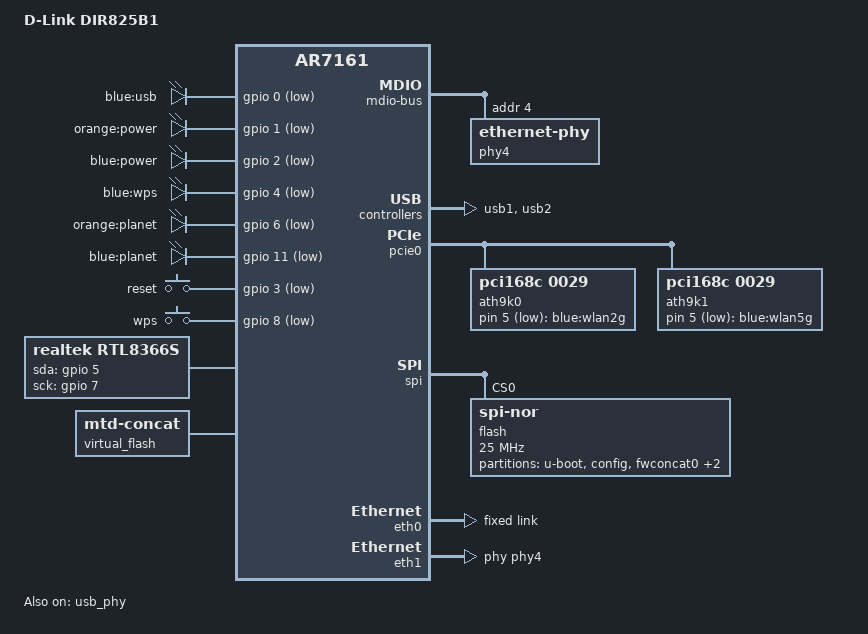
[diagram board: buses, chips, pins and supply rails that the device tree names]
// SPDX-License-Identifier: GPL-2.0-or-later OR MIT

#include "ar7100.dtsi"

#include <dt-bindings/gpio/gpio.h>
#include <dt-bindings/input/input.h>

/ {
	compatible = "dlink,dir-825-b1", "qca,ar7161";
	model = "D-Link DIR825B1";

	aliases {
		led-boot = &led_power_orange;
		led-failsafe = &led_power_orange;
		led-running = &led_power_blue;
		led-upgrade = &led_power_orange;
	};

	leds {
		compatible = "gpio-leds";

		usb {
			label = "blue:usb";
			gpios = <&gpio 0 GPIO_ACTIVE_LOW>;
			trigger-sources = <&usb_ohci_port>, <&usb_ehci_port>;
			linux,default-trigger = "usbport";
		};

		led_power_orange: power_orange {
			label = "orange:power";
			gpios = <&gpio 1 GPIO_ACTIVE_LOW>;
			default-state = "on";
		};

		led_power_blue: power_blue {
			label = "blue:power";
			gpios = <&gpio 2 GPIO_ACTIVE_LOW>;
		};

		wps {
			label = "blue:wps";
			gpios = <&gpio 4 GPIO_ACTIVE_LOW>;
		};

		planet_orange {
			label = "orange:planet";
			gpios = <&gpio 6 GPIO_ACTIVE_LOW>;
		};

		planet_blue {
			label = "blue:planet";
			gpios = <&gpio 11 GPIO_ACTIVE_LOW>;
		};
	};

	ath9k-leds {
		compatible = "gpio-leds";

		wlan2g {
			label = "blue:wlan2g";
			gpios = <&ath9k0 5 GPIO_ACTIVE_LOW>;
			linux,default-trigger = "phy0tpt";
		};

		wlan5g {
			label = "blue:wlan5g";
			gpios = <&ath9k1 5 GPIO_ACTIVE_LOW>;
			linux,default-trigger = "phy1tpt";
		};
	};

	keys {
		compatible = "gpio-keys";

		reset {
			label = "reset";
			linux,code = <KEY_RESTART>;
			gpios = <&gpio 3 GPIO_ACTIVE_LOW>;
		};

		wps {
			label = "wps";
			linux,code = <KEY_WPS_BUTTON>;
			gpios = <&gpio 8 GPIO_ACTIVE_LOW>;
		};
	};

	rtl8366s {
		compatible = "realtek,rtl8366s";
		gpio-sda = <&gpio 5 GPIO_ACTIVE_HIGH>;
		gpio-sck = <&gpio 7 GPIO_ACTIVE_HIGH>;
		realtek,initvals = <0x06 0x0108>;

		mdio-bus {
			#address-cells = <1>;
			#size-cells = <0>;
			status = "okay";

			phy4: ethernet-phy@4 {
				reg = <4>;
				phy-mode = "rgmii";
			};
		};
	};

	virtual_flash {
		compatible = "mtd-concat";
		devices = <&fwconcat0 &fwconcat1>;

		partitions {
			compatible = "fixed-partitions";
			#address-cells = <1>;
			#size-cells = <1>;

			partition@0 {
				compatible = "denx,uimage";
				label = "firmware";
				reg = <0x0 0x0>;
			};
		};
	};
};

&usb1 {
	status = "okay";
};

&usb2 {
	status = "okay";
};

&usb_phy {
	status = "okay";
};

&pcie0 {
	status = "okay";

	ath9k0: wifi@0,11 {
		compatible = "pci168c,0029";
		reg = <0x8800 0 0 0 0>;
		nvmem-cells = <&macaddr_lan 0>, <&cal_art_1000>;
		nvmem-cell-names = "mac-address", "calibration";
		#gpio-cells = <2>;
		gpio-controller;
	};

	ath9k1: wifi@0,12 {
		compatible = "pci168c,0029";
		reg = <0x9000 0 0 0 0>;
		nvmem-cells = <&macaddr_wan 1>, <&cal_art_5000>;
		nvmem-cell-names = "mac-address", "calibration";
		#gpio-cells = <2>;
		gpio-controller;
	};
};

&spi {
	status = "okay";

	flash@0 {
		compatible = "jedec,spi-nor";
		reg = <0>;
		spi-max-frequency = <25000000>;

		partitions {
			compatible = "fixed-partitions";
			#address-cells = <1>;
			#size-cells = <1>;

			partition@0 {
				label = "u-boot";
				reg = <0x000000 0x040000>;
				read-only;
			};

			partition@40000 {
				label = "config";
				reg = <0x040000 0x010000>;
				read-only;
			};

			fwconcat0: partition@50000 {
				label = "fwconcat0";
				reg = <0x050000 0x610000>;
			};

			partition@660000 {
				label = "caldata";
				reg = <0x660000 0x010000>;
				read-only;

				nvmem-layout {
					compatible = "fixed-layout";
					#address-cells = <1>;
					#size-cells = <1>;

					cal_art_1000: cal@1000 {
						reg = <0x1000 0xeb8>;
					};

					cal_art_5000: cal@5000 {
						reg = <0x5000 0xeb8>;
					};

					macaddr_lan: macaddr@ffa0 {
						compatible = "mac-base";
						reg = <0xffa0 0x11>;
						#nvmem-cell-cells = <1>;
					};

					macaddr_wan: macaddr@ffb4 {
						compatible = "mac-base";
						reg = <0xffb4 0x11>;
						#nvmem-cell-cells = <1>;
					};
				};
			};

			fwconcat1: partition@670000 {
				label = "fwconcat1";
				reg = <0x670000 0x190000>;
			};
		};
	};
};

&eth0 {
	status = "okay";

	pll-data = <0x11110000 0x00001099 0x00991099>;

	nvmem-cells = <&macaddr_lan 0>;
	nvmem-cell-names = "mac-address";

	fixed-link {
		speed = <1000>;
		full-duplex;
	};
};

&eth1 {
	status = "okay";

	pll-data = <0x11110000 0x00001099 0x00991099>;

	nvmem-cells = <&macaddr_wan 0>;
	nvmem-cell-names = "mac-address";

	phy-handle = <&phy4>;
};

